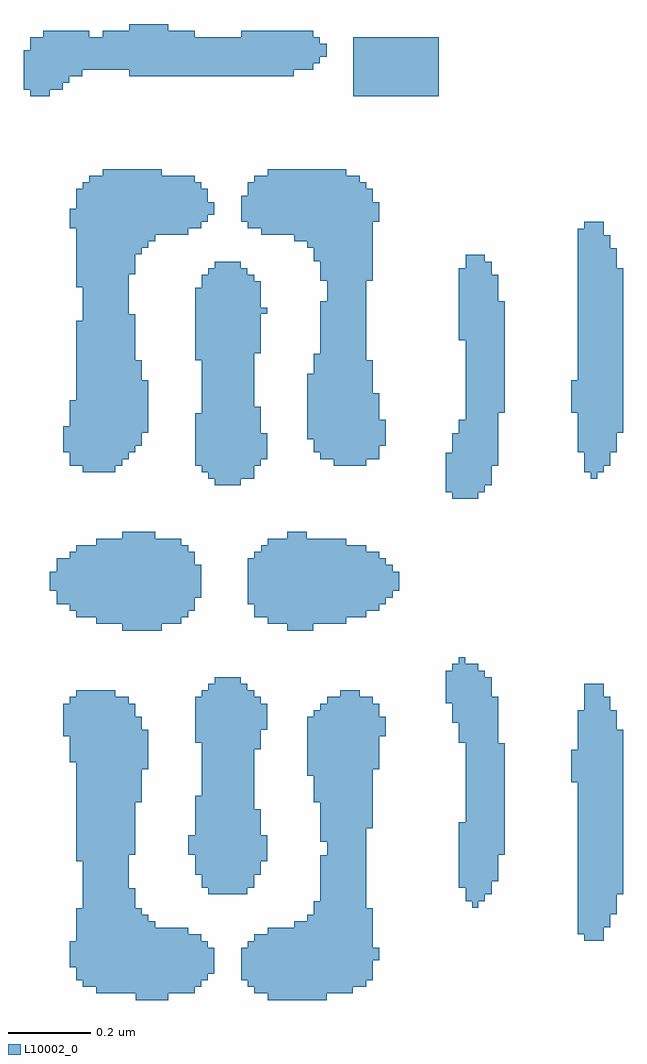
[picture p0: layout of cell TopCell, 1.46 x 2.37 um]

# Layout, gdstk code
import gdstk
lib = gdstk.Library(unit=1e-6, precision=1e-09)
def R(c, l, rs):  # rectangles x0, y0, x1, y1
    for r in rs: c.add(gdstk.rectangle(r[:2], r[2:], *l))
L10002_0 = (10002, 0)

topcell = lib.new_cell('TopCell')
R(topcell, L10002_0, [(1.312,1.136,1.327,1.359), (1.327,1.136,1.343,1.343), (1.343,1.136,1.359,1.327), (1.359,1.136,1.391,1.311), (1.632,1.136,1.775,1.311), (1.216,1.152,1.263,1.887), (1.263,1.152,1.295,1.871), (1.295,1.152,1.311,1.407), (1.311,1.152,1.312,1.359), (1.391,1.152,1.439,1.311), (1.439,1.152,1.455,1.295), (1.6,1.152,1.632,1.295), (1.775,1.152,1.839,1.487), (1.184,1.168,1.216,1.887), (1.455,1.168,1.471,1.295), (1.584,1.168,1.6,1.279), (1.839,1.168,1.855,1.887), (1.855,1.168,1.871,1.871), (1.168,1.184,1.184,1.359), (1.471,1.184,1.487,1.279), (1.568,1.184,1.584,1.263), (1.871,1.184,1.887,1.359), (1.487,1.2,1.503,1.263), (1.152,1.216,1.168,1.279), (1.887,1.232,1.903,1.263), (2.4,1.28,2.447,1.903), (2.384,1.296,2.4,1.839), (1.696,1.311,1.775,1.327), (2.447,1.312,2.463,1.871), (1.728,1.327,1.775,1.343), (1.744,1.343,1.775,1.375), (2.463,1.344,2.479,1.839), (2.128,1.36,2.143,1.951), (1.76,1.375,1.775,1.487), (2.112,1.376,2.128,1.951), (2.143,1.376,2.159,1.935), (1.488,1.392,1.583,1.903), (2.159,1.392,2.175,1.919), (2.479,1.392,2.495,1.791), (1.472,1.408,1.488,1.887), (1.583,1.408,1.599,1.887), (2.096,1.408,2.112,1.567), (2.175,1.424,2.191,1.871), (1.456,1.44,1.472,1.631), (1.599,1.44,1.615,1.599), (1.168,1.472,1.184,1.887), (1.615,1.472,1.631,1.535), (1.776,1.487,1.839,1.871), (1.295,1.488,1.311,1.855), (1.44,1.488,1.456,1.535), (2.191,1.488,2.207,1.759), (1.76,1.52,1.776,1.855), (1.871,1.552,1.887,1.871), (1.311,1.616,1.327,1.823), (1.744,1.616,1.76,1.839), (2.368,1.664,2.384,1.743), (1.728,1.68,1.744,1.823), (1.327,1.696,1.343,1.791), (1.887,1.696,1.903,1.855), (1.152,1.712,1.168,1.871), (1.599,1.744,1.615,1.871), (1.456,1.76,1.472,1.871), (2.096,1.76,2.111,1.967), (2.111,1.76,2.112,1.951), (1.136,1.776,1.152,1.855), (1.903,1.776,1.919,1.823), (1.615,1.792,1.631,1.855), (2.08,1.808,2.096,1.951), (2.064,1.856,2.08,1.935), (1.808,1.871,1.839,1.887), (1.504,1.903,1.567,1.919), (1.28,2.032,1.359,2.271), (1.359,2.032,1.375,2.255), (1.68,2.032,1.727,2.271), (1.727,2.032,1.743,2.255), (1.216,2.048,1.28,2.255), (1.375,2.048,1.423,2.255), (1.632,2.048,1.68,2.255), (1.743,2.048,1.823,2.255), (1.168,2.064,1.216,2.239), (1.423,2.064,1.439,2.239), (1.6,2.064,1.632,2.223), (1.823,2.064,1.871,2.239), (1.152,2.08,1.168,2.223), (1.439,2.08,1.455,2.223), (1.871,2.08,1.903,2.223), (1.12,2.096,1.152,2.207), (1.584,2.096,1.6,2.207), (1.903,2.096,1.919,2.207), (1.455,2.112,1.471,2.191), (1.919,2.112,1.935,2.191), (1.104,2.128,1.12,2.175), (1.935,2.128,1.951,2.175), (1.616,2.223,1.632,2.239), (2.08,2.352,2.143,2.511), (2.064,2.368,2.08,2.463), (2.143,2.368,2.159,2.943), (1.504,2.384,1.567,2.927), (2.159,2.384,2.175,2.927), (1.488,2.4,1.504,2.911), (1.567,2.4,1.583,2.911), (1.583,2.4,1.599,2.895), (2.416,2.4,2.431,3.023), (1.184,2.416,1.263,3.119), (1.472,2.416,1.488,2.895), (2.4,2.416,2.416,3.023), (2.431,2.416,2.447,3.023), (1.152,2.432,1.184,2.591), (1.263,2.432,1.279,3.151), (1.456,2.432,1.472,2.559), (1.599,2.432,1.615,2.575), (1.792,2.432,1.823,3.151), (1.823,2.432,1.855,3.135), (1.855,2.432,1.871,3.119), (2.175,2.432,2.191,2.895), (2.447,2.432,2.463,2.991), (1.279,2.448,1.295,3.151), (1.615,2.448,1.631,2.511), (1.76,2.448,1.792,2.831), (1.871,2.448,1.887,2.687), (1.887,2.448,1.903,2.607), (1.136,2.464,1.152,2.527), (1.295,2.464,1.311,2.799), (1.744,2.464,1.76,2.703), (2.384,2.464,2.4,3.007), (2.463,2.464,2.479,2.959), (1.311,2.48,1.327,2.687), (1.903,2.48,1.919,2.543), (1.728,2.496,1.744,2.655), (2.096,2.511,2.143,2.543), (1.327,2.512,1.343,2.639), (2.479,2.512,2.495,2.911), (2.112,2.543,2.143,2.943), (2.191,2.56,2.207,2.831), (2.368,2.56,2.384,2.639), (1.168,2.591,1.184,2.783), (1.456,2.688,1.472,2.863), (1.599,2.704,1.615,2.879), (2.096,2.736,2.112,2.911), (1.615,2.8,1.631,2.815), (1.776,2.831,1.792,3.151), (1.168,2.864,1.184,3.103), (1.76,2.88,1.776,3.151), (1.871,2.88,1.887,3.103), (1.295,2.896,1.311,3.151), (1.744,2.928,1.76,3.151), (1.311,2.944,1.327,3.151), (1.327,2.96,1.343,3.151), (1.728,2.96,1.744,3.151), (1.343,2.976,1.359,3.151), (1.696,2.976,1.728,3.151), (1.359,2.992,1.375,3.151), (1.375,2.992,1.439,3.135), (1.616,2.992,1.696,3.135), (1.152,3.008,1.168,3.055), (1.439,3.008,1.455,3.135), (1.455,3.008,1.471,3.119), (1.584,3.008,1.616,3.119), (1.471,3.024,1.487,3.103), (1.568,3.024,1.584,3.087), (1.887,3.024,1.903,3.071), (1.487,3.04,1.503,3.071), (1.2,3.119,1.263,3.135), (1.6,3.119,1.616,3.135), (1.232,3.135,1.263,3.151), (1.632,3.135,1.696,3.151), (1.056,3.328,1.103,3.471), (1.84,3.328,2.047,3.471), (1.04,3.344,1.056,3.439), (1.103,3.344,1.135,3.487), (1.135,3.36,1.151,3.487), (1.151,3.376,1.183,3.487), (1.296,3.376,1.391,3.503), (1.391,3.376,1.455,3.487), (1.455,3.376,1.695,3.471), (1.183,3.392,1.199,3.487), (1.199,3.392,1.296,3.471), (1.695,3.392,1.743,3.487), (1.743,3.408,1.759,3.471), (1.759,3.424,1.775,3.455), (1.088,3.471,1.103,3.487), (1.232,3.471,1.296,3.487), (1.568,3.471,1.695,3.487)])

lib.write_gds('TopCell.gds')
